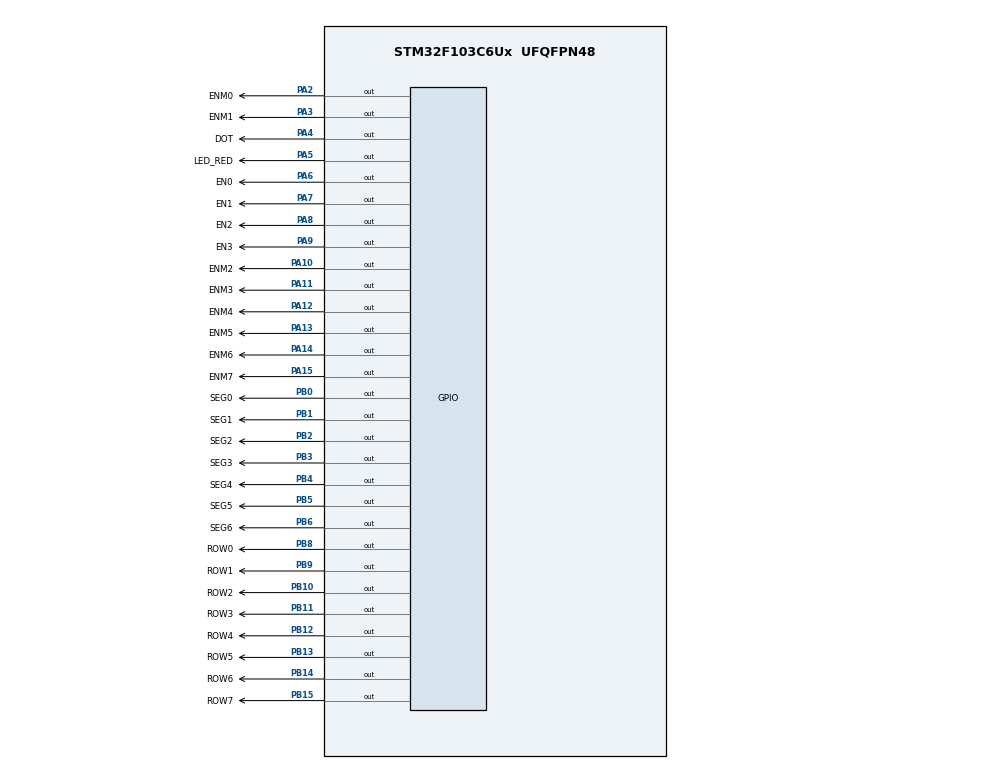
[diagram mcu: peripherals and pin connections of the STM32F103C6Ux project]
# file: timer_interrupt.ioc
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Mcu.Family=STM32F1
Mcu.Name=STM32F103C6Ux
Mcu.Package=UFQFPN48
NVIC.PriorityGroup=NVIC_PRIORITYGROUP_4
NVIC.TIM2_IRQn=true\:0\:0\:false\:false\:true\:true\:true
PA10.GPIO_Label=ENM2
PA10.Signal=GPIO_Output
PA11.GPIO_Label=ENM3
PA11.Signal=GPIO_Output
PA12.GPIO_Label=ENM4
PA12.Signal=GPIO_Output
PA13.GPIO_Label=ENM5
PA13.Signal=GPIO_Output
PA14.GPIO_Label=ENM6
PA14.Signal=GPIO_Output
PA15.GPIO_Label=ENM7
PA15.Signal=GPIO_Output
PA2.GPIO_Label=ENM0
PA2.Signal=GPIO_Output
PA3.GPIO_Label=ENM1
PA3.Signal=GPIO_Output
PA4.GPIO_Label=DOT
PA4.Signal=GPIO_Output
PA5.GPIO_Label=LED_RED
PA5.Signal=GPIO_Output
PA6.GPIO_Label=EN0
PA6.Signal=GPIO_Output
PA7.GPIO_Label=EN1
PA7.Signal=GPIO_Output
PA8.GPIO_Label=EN2
PA8.Signal=GPIO_Output
PA9.GPIO_Label=EN3
PA9.Signal=GPIO_Output
PB0.GPIO_Label=SEG0
PB0.Signal=GPIO_Output
PB1.GPIO_Label=SEG1
PB1.Signal=GPIO_Output
PB10.GPIO_Label=ROW2
PB10.Signal=GPIO_Output
PB11.GPIO_Label=ROW3
PB11.Signal=GPIO_Output
PB12.GPIO_Label=ROW4
PB12.Signal=GPIO_Output
PB13.GPIO_Label=ROW5
PB13.Signal=GPIO_Output
PB14.GPIO_Label=ROW6
PB14.Signal=GPIO_Output
PB15.GPIO_Label=ROW7
PB15.Signal=GPIO_Output
PB2.GPIO_Label=SEG2
PB2.Signal=GPIO_Output
PB3.GPIO_Label=SEG3
PB3.Signal=GPIO_Output
PB4.GPIO_Label=SEG4
PB4.Signal=GPIO_Output
PB5.GPIO_Label=SEG5
PB5.Signal=GPIO_Output
PB6.GPIO_Label=SEG6
PB6.Signal=GPIO_Output
PB8.GPIO_Label=ROW0
PB8.Signal=GPIO_Output
PB9.GPIO_Label=ROW1
PB9.Signal=GPIO_Output
ProjectManager.HeapSize=0x200
ProjectManager.StackSize=0x400
ProjectManager.TargetToolchain=STM32CubeIDE
RCC.APB1Freq_Value=8000000
RCC.APB2Freq_Value=8000000
TIM2.Period=9
TIM2.Prescaler=7999
VP_SYS_VS_ND.Mode=No_Debug
VP_TIM2_VS_ClockSourceINT.Mode=Internal
board=custom

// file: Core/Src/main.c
/* USER CODE BEGIN Header */
/**
  ******************************************************************************
  * @file           : main.c
  * @brief          : Main program body
  ******************************************************************************
  * @attention
  *
  * <h2><center>&copy; Copyright (c) 2023 STMicroelectronics.
  * All rights reserved.</center></h2>
  *
  * This software component is licensed by ST under BSD 3-Clause license,
  * the "License"; You may not use this file except in compliance with the
  * License. You may obtain a copy of the License at:
  *                        opensource.org/licenses/BSD-3-Clause
  *
  ******************************************************************************
  */
/* USER CODE END Header */
#include "main.h"

TIM_HandleTypeDef htim2;

void SystemClock_Config(void);
static void MX_GPIO_Init(void);
static void MX_TIM2_Init(void);
/* USER CODE BEGIN PFP */
void turnOnPin(int pin, int state)
{
	switch(pin){
	case 1:
		HAL_GPIO_WritePin(SEG0_GPIO_Port, SEG0_Pin, state);
		break;
	case 2:
		HAL_GPIO_WritePin(SEG1_GPIO_Port, SEG1_Pin, state);
		break;
	case 3:
		HAL_GPIO_WritePin(SEG2_GPIO_Port, SEG2_Pin, state);
		break;
	case 4:
		HAL_GPIO_WritePin(SEG3_GPIO_Port, SEG3_Pin, state);
		break;
	case 5:
		HAL_GPIO_WritePin(SEG4_GPIO_Port, SEG4_Pin, state);
		break;
	case 6:
		HAL_GPIO_WritePin(SEG5_GPIO_Port, SEG5_Pin, state);
		break;
	case 7:
		HAL_GPIO_WritePin(SEG6_GPIO_Port, SEG6_Pin, state);
		break;
	}

}
void display7SEG(int num)
{
	if (num == 0)
	{
		turnOnPin(1, GPIO_PIN_RESET);
		turnOnPin(2, GPIO_PIN_RESET);
		turnOnPin(3, GPIO_PIN_RESET);
		turnOnPin(4, GPIO_PIN_RESET);
		turnOnPin(5, GPIO_PIN_RESET);
		turnOnPin(6, GPIO_PIN_RESET);
		turnOnPin(7, GPIO_PIN_SET);
	}
	else if (num == 1)
	{
		turnOnPin(1, GPIO_PIN_SET);
		turnOnPin(2, GPIO_PIN_RESET);
		turnOnPin(3, GPIO_PIN_RESET);
		turnOnPin(4, GPIO_PIN_SET);
		turnOnPin(5, GPIO_PIN_SET);
		turnOnPin(6, GPIO_PIN_SET);
		turnOnPin(7, GPIO_PIN_SET);
	}
	else if (num == 2)
	{
		turnOnPin(1, GPIO_PIN_RESET);
		turnOnPin(2, GPIO_PIN_RESET);
		turnOnPin(3, GPIO_PIN_SET);
		turnOnPin(4, GPIO_PIN_RESET);
		turnOnPin(5, GPIO_PIN_RESET);
		turnOnPin(6, GPIO_PIN_SET);
		turnOnPin(7, GPIO_PIN_RESET);
	}
	else if (num == 3)
	{
		turnOnPin(1, GPIO_PIN_RESET);
		turnOnPin(2, GPIO_PIN_RESET);
		turnOnPin(3, GPIO_PIN_RESET);
		turnOnPin(4, GPIO_PIN_RESET);
		turnOnPin(5, GPIO_PIN_SET);
		turnOnPin(6, GPIO_PIN_SET);
		turnOnPin(7, GPIO_PIN_RESET);
	}
	else if (num == 4)
	{
		turnOnPin(1, GPIO_PIN_SET);
		turnOnPin(2, GPIO_PIN_RESET);
		turnOnPin(3, GPIO_PIN_RESET);
		turnOnPin(4, GPIO_PIN_SET);
		turnOnPin(5, GPIO_PIN_SET);
		turnOnPin(6, GPIO_PIN_RESET);
		turnOnPin(7, GPIO_PIN_RESET);
	}
	else if (num == 5)
	{
		turnOnPin(1, GPIO_PIN_RESET);
		turnOnPin(2, GPIO_PIN_SET);
		turnOnPin(3, GPIO_PIN_RESET);
		turnOnPin(4, GPIO_PIN_RESET);
		turnOnPin(5, GPIO_PIN_SET);
		turnOnPin(6, GPIO_PIN_RESET);
		turnOnPin(7, GPIO_PIN_RESET);
	}
	else if (num == 6)
	{
		turnOnPin(1, GPIO_PIN_RESET);
		turnOnPin(2, GPIO_PIN_SET);
		turnOnPin(3, GPIO_PIN_RESET);
		turnOnPin(4, GPIO_PIN_RESET);
		turnOnPin(5, GPIO_PIN_RESET);
		turnOnPin(6, GPIO_PIN_RESET);
		turnOnPin(7, GPIO_PIN_RESET);
	}
	else if (num == 7)
	{
		turnOnPin(1, GPIO_PIN_RESET);
		turnOnPin(2, GPIO_PIN_RESET);
		turnOnPin(3, GPIO_PIN_RESET);
		turnOnPin(4, GPIO_PIN_SET);
		turnOnPin(5, GPIO_PIN_SET);
		turnOnPin(6, GPIO_PIN_SET);
		turnOnPin(7, GPIO_PIN_SET);
	}
	else if (num == 8)
	{
		turnOnPin(1, GPIO_PIN_RESET);
		turnOnPin(2, GPIO_PIN_RESET);
		turnOnPin(3, GPIO_PIN_RESET);
		turnOnPin(4, GPIO_PIN_RESET);
		turnOnPin(5, GPIO_PIN_RESET);
		turnOnPin(6, GPIO_PIN_RESET);
		turnOnPin(7, GPIO_PIN_RESET);
	}
	else if (num == 9)
	{
		turnOnPin(1, GPIO_PIN_RESET);
		turnOnPin(2, GPIO_PIN_RESET);
		turnOnPin(3, GPIO_PIN_RESET);
		turnOnPin(4, GPIO_PIN_RESET);
		turnOnPin(5, GPIO_PIN_SET);
		turnOnPin(6, GPIO_PIN_RESET);
		turnOnPin(7, GPIO_PIN_RESET);
	}
}
const int MAX_LED = 4;
int index_led = 0;
int led_buffer [4] = {9 , 8 , 7 , 6};
void turnOnDis (int index) {
    switch (index) {
            case 1:
	  	    	  HAL_GPIO_WritePin(EN0_GPIO_Port, EN0_Pin, GPIO_PIN_RESET);
	  	    	  HAL_GPIO_WritePin(EN1_GPIO_Port, EN1_Pin, GPIO_PIN_SET);
	  	    	  HAL_GPIO_WritePin(EN2_GPIO_Port, EN2_Pin, GPIO_PIN_SET);
	  	    	  HAL_GPIO_WritePin(EN3_GPIO_Port, EN3_Pin, GPIO_PIN_SET);
	  	    	  break;
            case 2:
	  	    	  HAL_GPIO_WritePin(EN0_GPIO_Port, EN0_Pin, GPIO_PIN_SET);
	  	    	  HAL_GPIO_WritePin(EN1_GPIO_Port, EN1_Pin, GPIO_PIN_RESET);
	  	    	  HAL_GPIO_WritePin(EN2_GPIO_Port, EN2_Pin, GPIO_PIN_SET);
	  	    	  HAL_GPIO_WritePin(EN3_GPIO_Port, EN3_Pin, GPIO_PIN_SET);
	  	    	  break;
            case 3:
	  	    	  HAL_GPIO_WritePin(EN0_GPIO_Port, EN0_Pin, GPIO_PIN_SET);
	  	    	  HAL_GPIO_WritePin(EN1_GPIO_Port, EN1_Pin, GPIO_PIN_SET);
	  	    	  HAL_GPIO_WritePin(EN2_GPIO_Port, EN2_Pin, GPIO_PIN_RESET);
	  	    	  HAL_GPIO_WritePin(EN3_GPIO_Port, EN3_Pin, GPIO_PIN_SET);
	  	    	  break;
            case 4:
	  	    	  HAL_GPIO_WritePin(EN0_GPIO_Port, EN0_Pin, GPIO_PIN_SET);
	  	    	  HAL_GPIO_WritePin(EN1_GPIO_Port, EN1_Pin, GPIO_PIN_SET);
	  	    	  HAL_GPIO_WritePin(EN2_GPIO_Port, EN2_Pin, GPIO_PIN_SET);
	  	    	  HAL_GPIO_WritePin(EN3_GPIO_Port, EN3_Pin, GPIO_PIN_RESET);
	  	    	  break;
            default :
            break;
        }
}
void update7SEG(int index) {
    switch(index){
            case 0:
            	turnOnDis(1);
            	display7SEG(led_buffer[0]);
            	break;
            case 1:
            	turnOnDis(2);
            	display7SEG(led_buffer[1]);
            	break;
            case 2:
            	turnOnDis(3);
            	display7SEG(led_buffer[2]);
            	break;
            case 3:
            	turnOnDis(4);
            	display7SEG(led_buffer[3]);
            	break;
            default :
            	break;
        }
}
/* USER CODE END PFP */

/* USER CODE BEGIN 0 */
int counter_flag = 0;
int counter = 50;
/* USER CODE END 0 */

int main(void)
{

  /* MCU Configuration--------------------------------------------------------*/

  /* Reset of all peripherals, Initializes the Flash interface and the Systick. */
  HAL_Init();

  /* Configure the system clock */
  SystemClock_Config();

  /* Initialize all configured peripherals */
  MX_GPIO_Init();
  MX_TIM2_Init();
  /* USER CODE BEGIN 2 */
  HAL_TIM_Base_Start_IT (& htim2 );

  /* USER CODE END 2 */

  /* Infinite loop */
  /* USER CODE BEGIN WHILE */
  while (1)
  {
//		  switch (currentState) {
//		  	    case DISPLAY1:
//		  	    	  HAL_GPIO_WritePin(EN0_GPIO_Port, EN0_Pin, GPIO_PIN_RESET);
//		  	    	  HAL_GPIO_WritePin(EN1_GPIO_Port, EN1_Pin, GPIO_PIN_SET);
//		  	    	  display7SEG(1);
//					  if(counter_flag)
//					  {
//						  counter = 50;
//						  counter_flag = 0;
//						  nextState = DISPLAY2;
//			  	    	  HAL_GPIO_WritePin(LED_RED_GPIO_Port, LED_RED_Pin, GPIO_PIN_SET);
//					  }
//		  	    	break;
//		  	    case DISPLAY2:
//		  	    	  HAL_GPIO_WritePin(EN0_GPIO_Port, EN0_Pin, GPIO_PIN_SET);
//		  	    	  HAL_GPIO_WritePin(EN1_GPIO_Port, EN1_Pin, GPIO_PIN_RESET);
//		  	    	  display7SEG(2);
//		  	    	if(counter_flag)
//		  	    	 {
//						counter = 50;
//						counter_flag = 0;
//		  	    		nextState = DISPLAY1;
//			  	    	  HAL_GPIO_WritePin(LED_RED_GPIO_Port, LED_RED_Pin, GPIO_PIN_RESET);
//		  	    	 }
//		  	    	break;
//	  }
//	currentState = nextState;
    /* USER CODE END WHILE */

  }
}

void SystemClock_Config(void)
{
  RCC_OscInitTypeDef RCC_OscInitStruct = {0};
  RCC_ClkInitTypeDef RCC_ClkInitStruct = {0};

  /** Initializes the RCC Oscillators according to the specified parameters
  * in the RCC_OscInitTypeDef structure.
  */
  RCC_OscInitStruct.OscillatorType = RCC_OSCILLATORTYPE_HSI;
  RCC_OscInitStruct.HSIState = RCC_HSI_ON;
  RCC_OscInitStruct.HSICalibrationValue = RCC_HSICALIBRATION_DEFAULT;
  RCC_OscInitStruct.PLL.PLLState = RCC_PLL_NONE;
  if (HAL_RCC_OscConfig(&RCC_OscInitStruct) != HAL_OK)
  {
    Error_Handler();
  }
  /** Initializes the CPU, AHB and APB buses clocks
  */
  RCC_ClkInitStruct.ClockType = RCC_CLOCKTYPE_HCLK|RCC_CLOCKTYPE_SYSCLK
                              |RCC_CLOCKTYPE_PCLK1|RCC_CLOCKTYPE_PCLK2;
  RCC_ClkInitStruct.SYSCLKSource = RCC_SYSCLKSOURCE_HSI;
  RCC_ClkInitStruct.AHBCLKDivider = RCC_SYSCLK_DIV1;
  RCC_ClkInitStruct.APB1CLKDivider = RCC_HCLK_DIV1;
  RCC_ClkInitStruct.APB2CLKDivider = RCC_HCLK_DIV1;

  if (HAL_RCC_ClockConfig(&RCC_ClkInitStruct, FLASH_LATENCY_0) != HAL_OK)
  {
    Error_Handler();
  }
}

static void MX_TIM2_Init(void)
{

  TIM_ClockConfigTypeDef sClockSourceConfig = {0};
  TIM_MasterConfigTypeDef sMasterConfig = {0};

  htim2.Instance = TIM2;
  htim2.Init.Prescaler = 7999;
  htim2.Init.CounterMode = TIM_COUNTERMODE_UP;
  htim2.Init.Period = 9;
  htim2.Init.ClockDivision = TIM_CLOCKDIVISION_DIV1;
  htim2.Init.AutoReloadPreload = TIM_AUTORELOAD_PRELOAD_DISABLE;
  if (HAL_TIM_Base_Init(&htim2) != HAL_OK)
  {
    Error_Handler();
  }
  sClockSourceConfig.ClockSource = TIM_CLOCKSOURCE_INTERNAL;
  if (HAL_TIM_ConfigClockSource(&htim2, &sClockSourceConfig) != HAL_OK)
  {
    Error_Handler();
  }
  sMasterConfig.MasterOutputTrigger = TIM_TRGO_RESET;
  sMasterConfig.MasterSlaveMode = TIM_MASTERSLAVEMODE_DISABLE;
  if (HAL_TIMEx_MasterConfigSynchronization(&htim2, &sMasterConfig) != HAL_OK)
  {
    Error_Handler();
  }

}

static void MX_GPIO_Init(void)
{
  GPIO_InitTypeDef GPIO_InitStruct = {0};

  /* GPIO Ports Clock Enable */
  __HAL_RCC_GPIOA_CLK_ENABLE();
  __HAL_RCC_GPIOB_CLK_ENABLE();

  /*Configure GPIO pin Output Level */
  HAL_GPIO_WritePin(GPIOA, DOT_Pin|LED_RED_Pin|EN0_Pin|EN1_Pin
                          |EN2_Pin|EN3_Pin, GPIO_PIN_RESET);

  /*Configure GPIO pin Output Level */
  HAL_GPIO_WritePin(GPIOB, SEG0_Pin|SEG1_Pin|SEG2_Pin|SEG3_Pin
                          |SEG4_Pin|SEG5_Pin|SEG6_Pin, GPIO_PIN_RESET);

  /*Configure GPIO pins : DOT_Pin LED_RED_Pin EN0_Pin EN1_Pin
                           EN2_Pin EN3_Pin */
  GPIO_InitStruct.Pin = DOT_Pin|LED_RED_Pin|EN0_Pin|EN1_Pin
                          |EN2_Pin|EN3_Pin;
  GPIO_InitStruct.Mode = GPIO_MODE_OUTPUT_PP;
  GPIO_InitStruct.Pull = GPIO_NOPULL;
  GPIO_InitStruct.Speed = GPIO_SPEED_FREQ_LOW;
  HAL_GPIO_Init(GPIOA, &GPIO_InitStruct);

  /*Configure GPIO pins : SEG0_Pin SEG1_Pin SEG2_Pin SEG3_Pin
                           SEG4_Pin SEG5_Pin SEG6_Pin */
  GPIO_InitStruct.Pin = SEG0_Pin|SEG1_Pin|SEG2_Pin|SEG3_Pin
                          |SEG4_Pin|SEG5_Pin|SEG6_Pin;
  GPIO_InitStruct.Mode = GPIO_MODE_OUTPUT_PP;
  GPIO_InitStruct.Pull = GPIO_NOPULL;
  GPIO_InitStruct.Speed = GPIO_SPEED_FREQ_LOW;
  HAL_GPIO_Init(GPIOB, &GPIO_InitStruct);

}

/* USER CODE BEGIN 4 */
int counter1s = 100;
int counter500ms = 50;
enum DISPLAY {
	  DISPLAY1,
	  DISPLAY2,
	  DISPLAY3,
	  DISPLAY4,
};
enum DISPLAY currentState = DISPLAY1;
enum DISPLAY nextState = DISPLAY1;

void HAL_TIM_PeriodElapsedCallback ( TIM_HandleTypeDef * htim )
{
	counter1s --;
	counter500ms--;
	if( counter1s <= 0) {
    	HAL_GPIO_TogglePin(DOT_GPIO_Port, DOT_Pin);
		counter1s = 100;
	}
	if( counter500ms <= 0) {
		update7SEG(index_led);
		index_led++;
		if(index_led == 4)
		{
			index_led=0;
		}
    	counter500ms = 100;
	}
}
/* USER CODE END 4 */

void Error_Handler(void)
{
  __disable_irq();
  while (1)
  {
  }
}

/************************ (C) COPYRIGHT STMicroelectronics *****END OF FILE****/
